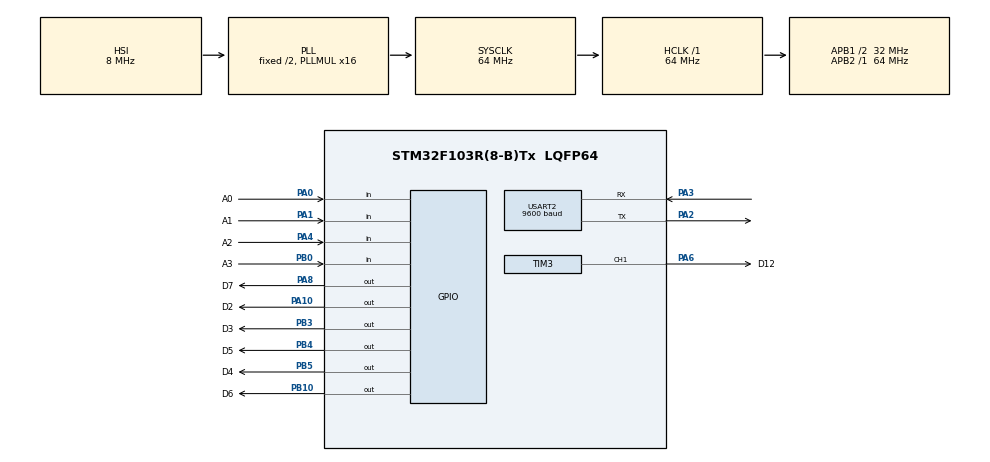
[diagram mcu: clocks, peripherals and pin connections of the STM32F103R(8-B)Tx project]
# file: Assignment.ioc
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Mcu.Family=STM32F1
Mcu.Name=STM32F103R(8-B)Tx
Mcu.Package=LQFP64
NVIC.PriorityGroup=NVIC_PRIORITYGROUP_4
NVIC.TIM2_IRQn=true\:0\:0\:false\:false\:true\:true\:true
NVIC.USART2_IRQn=true\:0\:0\:false\:false\:true\:true\:true
PA0-WKUP.GPIO_Label=A0
PA0-WKUP.GPIO_PuPd=GPIO_PULLUP
PA0-WKUP.Signal=GPIO_Input
PA1.GPIO_Label=A1
PA1.GPIO_PuPd=GPIO_PULLUP
PA1.Signal=GPIO_Input
PA10.GPIO_Label=D2
PA10.Signal=GPIO_Output
PA13.Mode=Serial_Wire
PA13.Signal=SYS_JTMS-SWDIO
PA14.Mode=Serial_Wire
PA14.Signal=SYS_JTCK-SWCLK
PA2.Mode=Asynchronous
PA2.Signal=USART2_TX
PA3.Mode=Asynchronous
PA3.Signal=USART2_RX
PA4.GPIO_Label=A2
PA4.GPIO_PuPd=GPIO_PULLUP
PA4.Signal=GPIO_Input
PA6.GPIO_Label=D12
PA6.Signal=S_TIM3_CH1
PA8.GPIO_Label=D7
PA8.Signal=GPIO_Output
PB0.GPIO_Label=A3
PB0.GPIO_PuPd=GPIO_PULLUP
PB0.Signal=GPIO_Input
PB10.GPIO_Label=D6
PB10.Signal=GPIO_Output
PB3.GPIO_Label=D3
PB3.Signal=GPIO_Output
PB4.GPIO_Label=D5
PB4.Signal=GPIO_Output
PB5.GPIO_Label=D4
PB5.Signal=GPIO_Output
ProjectManager.HeapSize=0x200
ProjectManager.StackSize=0x400
ProjectManager.TargetToolchain=STM32CubeIDE
RCC.AHBFreq_Value=64000000
RCC.APB1CLKDivider=RCC_HCLK_DIV2
RCC.APB1Freq_Value=32000000
RCC.APB1TimFreq_Value=64000000
RCC.APB2Freq_Value=64000000
RCC.APB2TimFreq_Value=64000000
RCC.HCLKFreq_Value=64000000
RCC.PLLMUL=RCC_PLL_MUL16
RCC.SYSCLKFreq_VALUE=64000000
RCC.SYSCLKSource=RCC_SYSCLKSOURCE_PLLCLK
RCC.USBFreq_Value=64000000
SH.S_TIM3_CH1.0=TIM3_CH1,PWM Generation1 CH1
TIM2.Period=9
TIM2.Prescaler=63999
TIM3.Channel-PWM\ Generation1\ CH1=TIM_CHANNEL_1
TIM3.Period=999
TIM3.Prescaler=63
USART2.BaudRate=9600
USART2.VirtualMode=VM_ASYNC
VP_TIM2_VS_ClockSourceINT.Mode=Internal
VP_TIM3_VS_ClockSourceINT.Mode=Internal
board=custom

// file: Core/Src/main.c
/* USER CODE BEGIN Header */
/**
  ******************************************************************************
  * @file           : main.c
  * @brief          : Main program body
  ******************************************************************************
  * @attention
  *
  * <h2><center>&copy; Copyright (c) 2022 STMicroelectronics.
  * All rights reserved.</center></h2>
  *
  * This software component is licensed by ST under BSD 3-Clause license,
  * the "License"; You may not use this file except in compliance with the
  * License. You may obtain a copy of the License at:
  *                        opensource.org/licenses/BSD-3-Clause
  *
  ******************************************************************************
  */
/* USER CODE END Header */
#include "main.h"

/* USER CODE BEGIN Includes */
#include "global.h"
#include "auto_fsm.h"
#include "man_fsm.h"
#include "tun_fsm.h"
#include "ped_fsm.h"
#include "stdio.h"
#include "string.h"
/* USER CODE END Includes */

TIM_HandleTypeDef htim2;
TIM_HandleTypeDef htim3;

UART_HandleTypeDef huart2;

void SystemClock_Config(void);
static void MX_GPIO_Init(void);
static void MX_TIM2_Init(void);
static void MX_TIM3_Init(void);
static void MX_USART2_UART_Init(void);

/* USER CODE BEGIN 0 */
uint8_t system_space[] = " ";
char str[30];
void uart_communiation_fsm(){
	switch(status){
	case INIT:
		HAL_UART_Transmit(&huart2, (void*)str, sprintf(str, "!7SEG:%d#\r\n",0), 1000);
		break;
	case TUN_INIT:
		HAL_UART_Transmit(&huart2, (void*)str, sprintf(str, "!7SEG:%d#\r\n",0), 1000);
		break;
	case MAN_INIT:
		HAL_UART_Transmit(&huart2, (void*)str, sprintf(str, "!7SEG:%d#\r\n",0), 1000);
		break;
	case AUTO_RED1_GREEN2:
		HAL_UART_Transmit(&huart2, (void*)str, sprintf(str, "!7SEG:%d#\r\n",1), 1000);
		break;
	case AUTO_RED1_YELLOW2:
		HAL_UART_Transmit(&huart2, (void*)str, sprintf(str, "!7SEG:%d#\r\n",1), 1000);
		break;
	case AUTO_GREEN1_RED2:
		HAL_UART_Transmit(&huart2, (void*)str, sprintf(str, "!7SEG:%d#\r\n",1), 1000);
		break;
	case AUTO_YELLOW1_RED2:
		HAL_UART_Transmit(&huart2, (void*)str, sprintf(str, "!7SEG:%d#\r\n",1), 1000);
		break;
	case MAN_RED1_GREEN2:
		HAL_UART_Transmit(&huart2, (void*)str, sprintf(str, "!7SEG:%d#\r\n",2), 1000);
		break;
	case MAN_RED1_YELLOW2:
		HAL_UART_Transmit(&huart2, (void*)str, sprintf(str, "!7SEG:%d#\r\n",2), 1000);
		break;
	case MAN_GREEN1_RED2:
		HAL_UART_Transmit(&huart2, (void*)str, sprintf(str, "!7SEG:%d#\r\n",2), 1000);
		break;
	case MAN_YELLOW1_RED2:
		HAL_UART_Transmit(&huart2, (void*)str, sprintf(str, "!7SEG:%d#\r\n",2), 1000);
		break;
	case TUN_RED1_GREEN2:
		HAL_UART_Transmit(&huart2, (void*)str, sprintf(str, "!7SEG:%d#\r\n",3), 1000);
		break;
	case TUN_RED1_YELLOW2:
		HAL_UART_Transmit(&huart2, (void*)str, sprintf(str, "!7SEG:%d#\r\n",3), 1000);
		break;
	case TUN_GREEN1_RED2:
		HAL_UART_Transmit(&huart2, (void*)str, sprintf(str, "!7SEG:%d#\r\n",3), 1000);
		break;
	case TUN_YELLOW1_RED2:
		HAL_UART_Transmit(&huart2, (void*)str, sprintf(str, "!7SEG:%d#\r\n",3), 1000);
		break;
	case PED_STATE:
		HAL_UART_Transmit(&huart2, (void*)str, sprintf(str, "!7SEG:%d#\r\n",4), 1000);
		break;
	default:
		HAL_UART_Transmit(&huart2, (void*)str, sprintf(str, "!7SEG:%d#\r\n",0), 1000);
		break;
	}
}
/* USER CODE END 0 */

int main(void)
{

  /* MCU Configuration--------------------------------------------------------*/

  /* Reset of all peripherals, Initializes the Flash interface and the Systick. */
  HAL_Init();

  /* Configure the system clock */
  SystemClock_Config();

  /* Initialize all configured peripherals */
  MX_GPIO_Init();
  MX_TIM2_Init();
  MX_TIM3_Init();
  MX_USART2_UART_Init();
  /* USER CODE BEGIN 2 */
  HAL_TIM_PWM_Start(&htim3, TIM_CHANNEL_1);
  HAL_TIM_Base_Start_IT(&htim2);
  //HAL_TIMEx_PWMN_Start(&htim3, TIM_CHANNEL_1);
//  htim3.Instance->CCR1 = 0;
  /* USER CODE END 2 */

  /* Infinite loop */
  /* USER CODE BEGIN WHILE */
  status = INIT;
  HAL_UART_Transmit(&huart2, system_space, sizeof(system_space), 1000);
  while (1)
  {
		  auto_fsm_run();
		  man_fsm_run();
		  tun_fsm_run();
		  ped_fsm_run();
	  uart_communiation_fsm();

    /* USER CODE END WHILE */

  }
}

void SystemClock_Config(void)
{
  RCC_OscInitTypeDef RCC_OscInitStruct = {0};
  RCC_ClkInitTypeDef RCC_ClkInitStruct = {0};

  /** Initializes the RCC Oscillators according to the specified parameters
  * in the RCC_OscInitTypeDef structure.
  */
  RCC_OscInitStruct.OscillatorType = RCC_OSCILLATORTYPE_HSI;
  RCC_OscInitStruct.HSIState = RCC_HSI_ON;
  RCC_OscInitStruct.HSICalibrationValue = RCC_HSICALIBRATION_DEFAULT;
  RCC_OscInitStruct.PLL.PLLState = RCC_PLL_ON;
  RCC_OscInitStruct.PLL.PLLSource = RCC_PLLSOURCE_HSI_DIV2;
  RCC_OscInitStruct.PLL.PLLMUL = RCC_PLL_MUL16;
  if (HAL_RCC_OscConfig(&RCC_OscInitStruct) != HAL_OK)
  {
    Error_Handler();
  }
  /** Initializes the CPU, AHB and APB buses clocks
  */
  RCC_ClkInitStruct.ClockType = RCC_CLOCKTYPE_HCLK|RCC_CLOCKTYPE_SYSCLK
                              |RCC_CLOCKTYPE_PCLK1|RCC_CLOCKTYPE_PCLK2;
  RCC_ClkInitStruct.SYSCLKSource = RCC_SYSCLKSOURCE_PLLCLK;
  RCC_ClkInitStruct.AHBCLKDivider = RCC_SYSCLK_DIV1;
  RCC_ClkInitStruct.APB1CLKDivider = RCC_HCLK_DIV2;
  RCC_ClkInitStruct.APB2CLKDivider = RCC_HCLK_DIV1;

  if (HAL_RCC_ClockConfig(&RCC_ClkInitStruct, FLASH_LATENCY_2) != HAL_OK)
  {
    Error_Handler();
  }
}

static void MX_TIM2_Init(void)
{

  TIM_ClockConfigTypeDef sClockSourceConfig = {0};
  TIM_MasterConfigTypeDef sMasterConfig = {0};

  htim2.Instance = TIM2;
  htim2.Init.Prescaler = 63999;
  htim2.Init.CounterMode = TIM_COUNTERMODE_UP;
  htim2.Init.Period = 9;
  htim2.Init.ClockDivision = TIM_CLOCKDIVISION_DIV1;
  htim2.Init.AutoReloadPreload = TIM_AUTORELOAD_PRELOAD_DISABLE;
  if (HAL_TIM_Base_Init(&htim2) != HAL_OK)
  {
    Error_Handler();
  }
  sClockSourceConfig.ClockSource = TIM_CLOCKSOURCE_INTERNAL;
  if (HAL_TIM_ConfigClockSource(&htim2, &sClockSourceConfig) != HAL_OK)
  {
    Error_Handler();
  }
  sMasterConfig.MasterOutputTrigger = TIM_TRGO_RESET;
  sMasterConfig.MasterSlaveMode = TIM_MASTERSLAVEMODE_DISABLE;
  if (HAL_TIMEx_MasterConfigSynchronization(&htim2, &sMasterConfig) != HAL_OK)
  {
    Error_Handler();
  }

}

static void MX_TIM3_Init(void)
{

  TIM_ClockConfigTypeDef sClockSourceConfig = {0};
  TIM_MasterConfigTypeDef sMasterConfig = {0};
  TIM_OC_InitTypeDef sConfigOC = {0};

  htim3.Instance = TIM3;
  htim3.Init.Prescaler = 63;
  htim3.Init.CounterMode = TIM_COUNTERMODE_UP;
  htim3.Init.Period = 999;
  htim3.Init.ClockDivision = TIM_CLOCKDIVISION_DIV1;
  htim3.Init.AutoReloadPreload = TIM_AUTORELOAD_PRELOAD_DISABLE;
  if (HAL_TIM_Base_Init(&htim3) != HAL_OK)
  {
    Error_Handler();
  }
  sClockSourceConfig.ClockSource = TIM_CLOCKSOURCE_INTERNAL;
  if (HAL_TIM_ConfigClockSource(&htim3, &sClockSourceConfig) != HAL_OK)
  {
    Error_Handler();
  }
  if (HAL_TIM_PWM_Init(&htim3) != HAL_OK)
  {
    Error_Handler();
  }
  sMasterConfig.MasterOutputTrigger = TIM_TRGO_RESET;
  sMasterConfig.MasterSlaveMode = TIM_MASTERSLAVEMODE_DISABLE;
  if (HAL_TIMEx_MasterConfigSynchronization(&htim3, &sMasterConfig) != HAL_OK)
  {
    Error_Handler();
  }
  sConfigOC.OCMode = TIM_OCMODE_PWM1;
  sConfigOC.Pulse = 0;
  sConfigOC.OCPolarity = TIM_OCPOLARITY_HIGH;
  sConfigOC.OCFastMode = TIM_OCFAST_DISABLE;
  if (HAL_TIM_PWM_ConfigChannel(&htim3, &sConfigOC, TIM_CHANNEL_1) != HAL_OK)
  {
    Error_Handler();
  }
  HAL_TIM_MspPostInit(&htim3);

}

static void MX_USART2_UART_Init(void)
{

  huart2.Instance = USART2;
  huart2.Init.BaudRate = 9600;
  huart2.Init.WordLength = UART_WORDLENGTH_8B;
  huart2.Init.StopBits = UART_STOPBITS_1;
  huart2.Init.Parity = UART_PARITY_NONE;
  huart2.Init.Mode = UART_MODE_TX_RX;
  huart2.Init.HwFlowCtl = UART_HWCONTROL_NONE;
  huart2.Init.OverSampling = UART_OVERSAMPLING_16;
  if (HAL_UART_Init(&huart2) != HAL_OK)
  {
    Error_Handler();
  }

}

static void MX_GPIO_Init(void)
{
  GPIO_InitTypeDef GPIO_InitStruct = {0};

  /* GPIO Ports Clock Enable */
  __HAL_RCC_GPIOA_CLK_ENABLE();
  __HAL_RCC_GPIOB_CLK_ENABLE();

  /*Configure GPIO pin Output Level */
  HAL_GPIO_WritePin(GPIOB, D6_Pin|D3_Pin|D5_Pin|D4_Pin, GPIO_PIN_RESET);

  /*Configure GPIO pin Output Level */
  HAL_GPIO_WritePin(GPIOA, D7_Pin|D2_Pin, GPIO_PIN_RESET);

  /*Configure GPIO pins : A0_Pin A1_Pin A2_Pin */
  GPIO_InitStruct.Pin = A0_Pin|A1_Pin|A2_Pin;
  GPIO_InitStruct.Mode = GPIO_MODE_INPUT;
  GPIO_InitStruct.Pull = GPIO_PULLUP;
  HAL_GPIO_Init(GPIOA, &GPIO_InitStruct);

  /*Configure GPIO pin : A3_Pin */
  GPIO_InitStruct.Pin = A3_Pin;
  GPIO_InitStruct.Mode = GPIO_MODE_INPUT;
  GPIO_InitStruct.Pull = GPIO_PULLUP;
  HAL_GPIO_Init(A3_GPIO_Port, &GPIO_InitStruct);

  /*Configure GPIO pins : D6_Pin D3_Pin D5_Pin D4_Pin */
  GPIO_InitStruct.Pin = D6_Pin|D3_Pin|D5_Pin|D4_Pin;
  GPIO_InitStruct.Mode = GPIO_MODE_OUTPUT_PP;
  GPIO_InitStruct.Pull = GPIO_NOPULL;
  GPIO_InitStruct.Speed = GPIO_SPEED_FREQ_LOW;
  HAL_GPIO_Init(GPIOB, &GPIO_InitStruct);

  /*Configure GPIO pins : D7_Pin D2_Pin */
  GPIO_InitStruct.Pin = D7_Pin|D2_Pin;
  GPIO_InitStruct.Mode = GPIO_MODE_OUTPUT_PP;
  GPIO_InitStruct.Pull = GPIO_NOPULL;
  GPIO_InitStruct.Speed = GPIO_SPEED_FREQ_LOW;
  HAL_GPIO_Init(GPIOA, &GPIO_InitStruct);

}

/* USER CODE BEGIN 4 */
void HAL_TIM_PeriodElapsedCallback(TIM_HandleTypeDef *htim) {
	TimerRun();
	GetKeyInput1();
	GetKeyInput2();
	GetKeyInput3();
	GetKeyInput4();
}
/* USER CODE END 4 */

void Error_Handler(void)
{
  __disable_irq();
  while (1)
  {
  }
}

/************************ (C) COPYRIGHT STMicroelectronics *****END OF FILE****/
